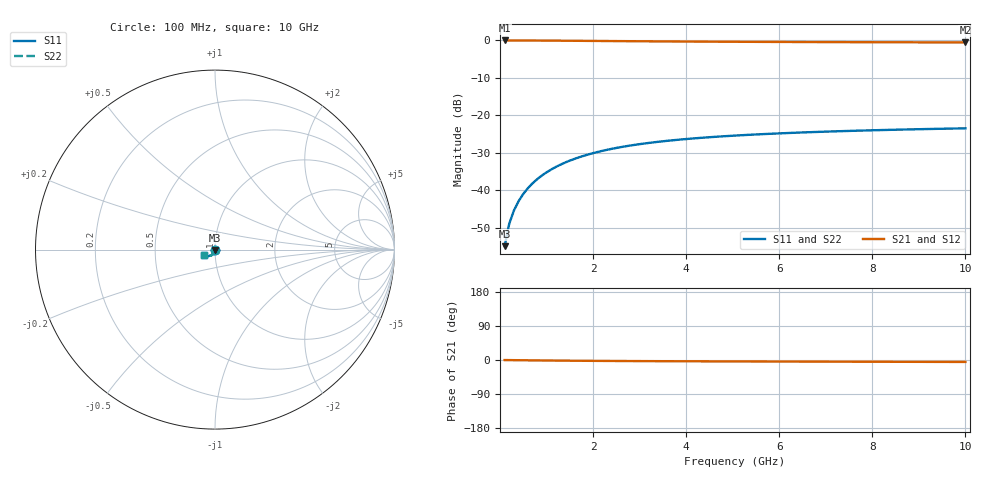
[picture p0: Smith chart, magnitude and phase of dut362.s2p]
! Touchstone file exported from HFSS 2024.1.0
!  File:  C:/UserFiles/LocalFiles/RDL_TSV_Batchsim/temp_TSV1_362_1779621070.aedt
!  Generated:  07:17:48 PM May 24, 2026
!  Design:  TSV1
!  Project:  temp_TSV1_362_1779621070
!  Setup:  Setup1
!  Solution:  Sweep
! Variables:
!  dtsv = 14.7um
!  hbump = 3um
!  htsv = 75.14um
!  lrdl = 252.1521522um
!  p = 40
!  p1 = 44.02um
!  t = 500um
!  trdl = 3um
!  wrdl = 24.89489489um
# GHz S MA R 50.000000
! Terminal data exported
! Port[1] = TSV22_T1
! Port[2] = TSV22_T2
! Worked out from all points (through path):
!   100 points, 100 MHz to 10 GHz, reference 50 ohm
!   highest |S21| = 0.00 dB at 100 MHz (marker M1); lowest = -0.5 dB at 10 GHz (marker M2)
!   lowest |S11| = -54.8 dB at 100 MHz (marker M3), VSWR 1.00, Z = 50 - j0.181 ohm
!   |S11| at or under -10 dB: start of sweep to end of sweep
!   |S22| runs from -54.8 to -23.4 dB; largest |S21 - S12| = 5.9e-15
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0.1  0.00181 -89.0  0.9999 -0.1  0.9999 -0.1  0.00181 -89.0
! Gamma 0 0 0 0
! Port Impedance 50 0 50 0
0.2  0.003614 -91.9  0.9997 -0.3  0.9997 -0.3  0.003614 -91.9
0.3  0.005414 -93.9  0.9995 -0.4  0.9995 -0.4  0.005414 -93.9
0.4  0.007202 -95.7  0.9991 -0.6  0.9991 -0.6  0.007202 -95.7
0.5  0.008975 -97.3  0.9987 -0.7  0.9987 -0.7  0.008975 -97.3
0.6  0.01073 -98.9  0.9982 -0.8  0.9982 -0.8  0.01073 -98.9
0.7  0.01245 -100.4  0.9975 -0.9  0.9975 -0.9  0.01245 -100.4
0.8  0.01415 -101.9  0.9969 -1.1  0.9969 -1.1  0.01415 -101.9
0.9  0.01582 -103.4  0.9961 -1.2  0.9961 -1.2  0.01582 -103.4
1.1  0.01904 -106.2  0.9945 -1.4  0.9945 -1.4  0.01904 -106.2
1.4  0.02356 -110.2  0.9917 -1.7  0.9917 -1.7  0.02356 -110.2
1.6  0.02637 -112.6  0.9897 -1.9  0.9897 -1.9  0.02637 -112.6
1.8  0.029 -115.0  0.9876 -2.1  0.9876 -2.1  0.029 -115.0
2.1  0.03263 -118.3  0.9845 -2.3  0.9845 -2.3  0.03263 -118.3
2.5  0.0369 -122.2  0.9804 -2.6  0.9804 -2.6  0.0369 -122.2
2.9  0.04061 -125.6  0.9766 -2.8  0.9766 -2.8  0.04061 -125.6
3.4  0.04456 -129.3  0.9721 -3.1  0.9721 -3.1  0.04456 -129.3
4.2  0.04967 -134.1  0.9659 -3.4  0.9659 -3.4  0.04967 -134.1
5.1  0.05414 -138.3  0.96 -3.8  0.96 -3.8  0.05414 -138.3
6.7  0.05999 -143.8  0.9521 -4.2  0.9521 -4.2  0.05999 -143.8
8.4  0.06436 -148.0  0.9461 -4.7  0.9461 -4.7  0.06436 -148.0
10  0.06737 -150.9  0.9419 -5.2  0.9419 -5.2  0.06737 -150.9
